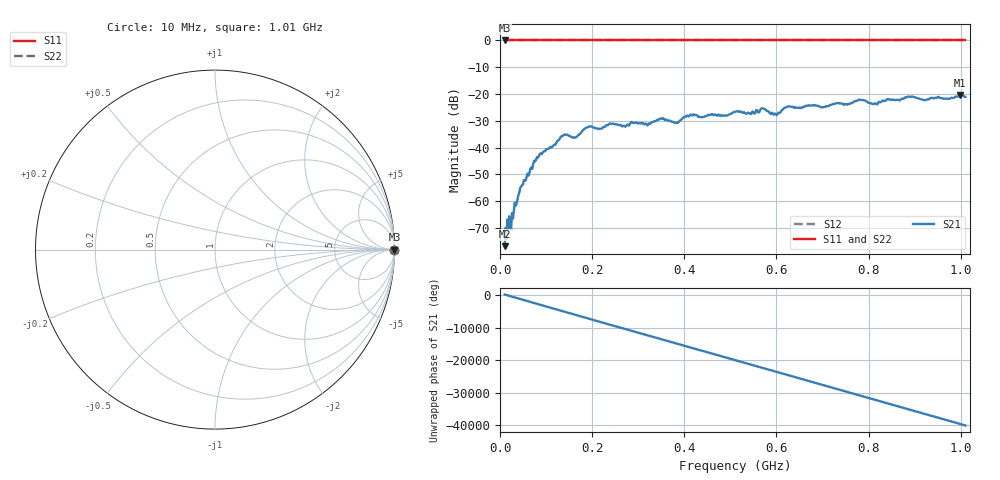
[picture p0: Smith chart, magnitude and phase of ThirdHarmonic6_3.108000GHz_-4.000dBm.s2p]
! 8/17/2025 9:11:14 AM
! C:\ANRITSUVNA\TEMP\TEMP.S2P
! CHANNEL.1
! TR.MEASUREMENT
! RAW.DATA
! RF.CORRECTION.OFF
! AVERAGING.OFF
! IF.BANDWIDTH: 5KHZ
! SWEEPTYPE:  FREQ.SWEEP(Linear)
! Reference Plane Port Info
! PORT:  PORT1  PORT2
! DISTANCE:  0  m  0  m
! TIME:  0  s  0  s
! PHASE.OFFSET:  0  deg.  0  deg.
! LOSS:  0  dB  0  dB
! REF.LOSS:  0  dB  0  dB
! REF.FREQ:  0  Hz  0  Hz
! Power Info
! POWER:  -20  dBm  -20  dBm
! EFF.POWER:  -20  dBm  -20  dBm
! SOURCE.ATTEN:  0  dB  0  dB
! TEST.ATTEN:  0  dB  0  dB
# GHZ S RI R 50.0
! FREQ.GHZ  S11RE  S11IM  S21RE  S21IM  S12RE  S12IM  S22RE  S22IM
!; PortSelection: Port_12
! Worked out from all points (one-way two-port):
!   501 points, 10 MHz to 1.01 GHz, reference 50 ohm
!   highest |S21| = -20.37 dB at 998 MHz (marker M1); lowest = -76.7 dB at 10 MHz (marker M2)
!   lowest |S11| = 0.0 dB at 10 MHz (marker M3)
!   |S11| at or under -10 dB: nowhere
!   |S22| runs from 0.0 to 0.0 dB; largest |S21 - S12| = 1.1
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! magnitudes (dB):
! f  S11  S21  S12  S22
! 10 MHz  0.0  -76.7  0.0  0.0
! 16 MHz  0.0  -66.8  0.0  0.0
! 26 MHz  0.0  -64.5  0.0  0.0
! 44 MHz  0.0  -55.0  0.0  0.0
! 76 MHz  0.0  -45.1  0.0  0.0
! 136 MHz  0.0  -35.7  0.0  0.0
! 162 MHz  0.0  -36.3  0.0  0.0
! 178 MHz  0.0  -33.9  0.0  0.0
! 194 MHz  0.0  -32.1  0.0  0.0
! 322 MHz  0.0  -31.3  0.0  0.0
! 344 MHz  0.0  -29.6  0.0  0.0
! 382 MHz  0.0  -30.7  0.0  0.0
! 416 MHz  0.0  -27.9  0.0  0.0
! 510 MHz  0.0  -26.6  0.0  0.0
! 570 MHz  0.0  -25.3  0.0  0.0
! 598 MHz  0.0  -27.4  0.0  0.0
! 624 MHz  0.0  -24.7  0.0  0.0
! 678 MHz  0.0  -24.3  0.0  0.0
! 814 MHz  0.0  -23.4  0.0  0.0
! 844 MHz  0.0  -21.9  0.0  0.0
! 998 MHz  0.0  -20.4  0.0  0.0
! 1.01 GHz  0.0  -21.1  0.0  0.0
